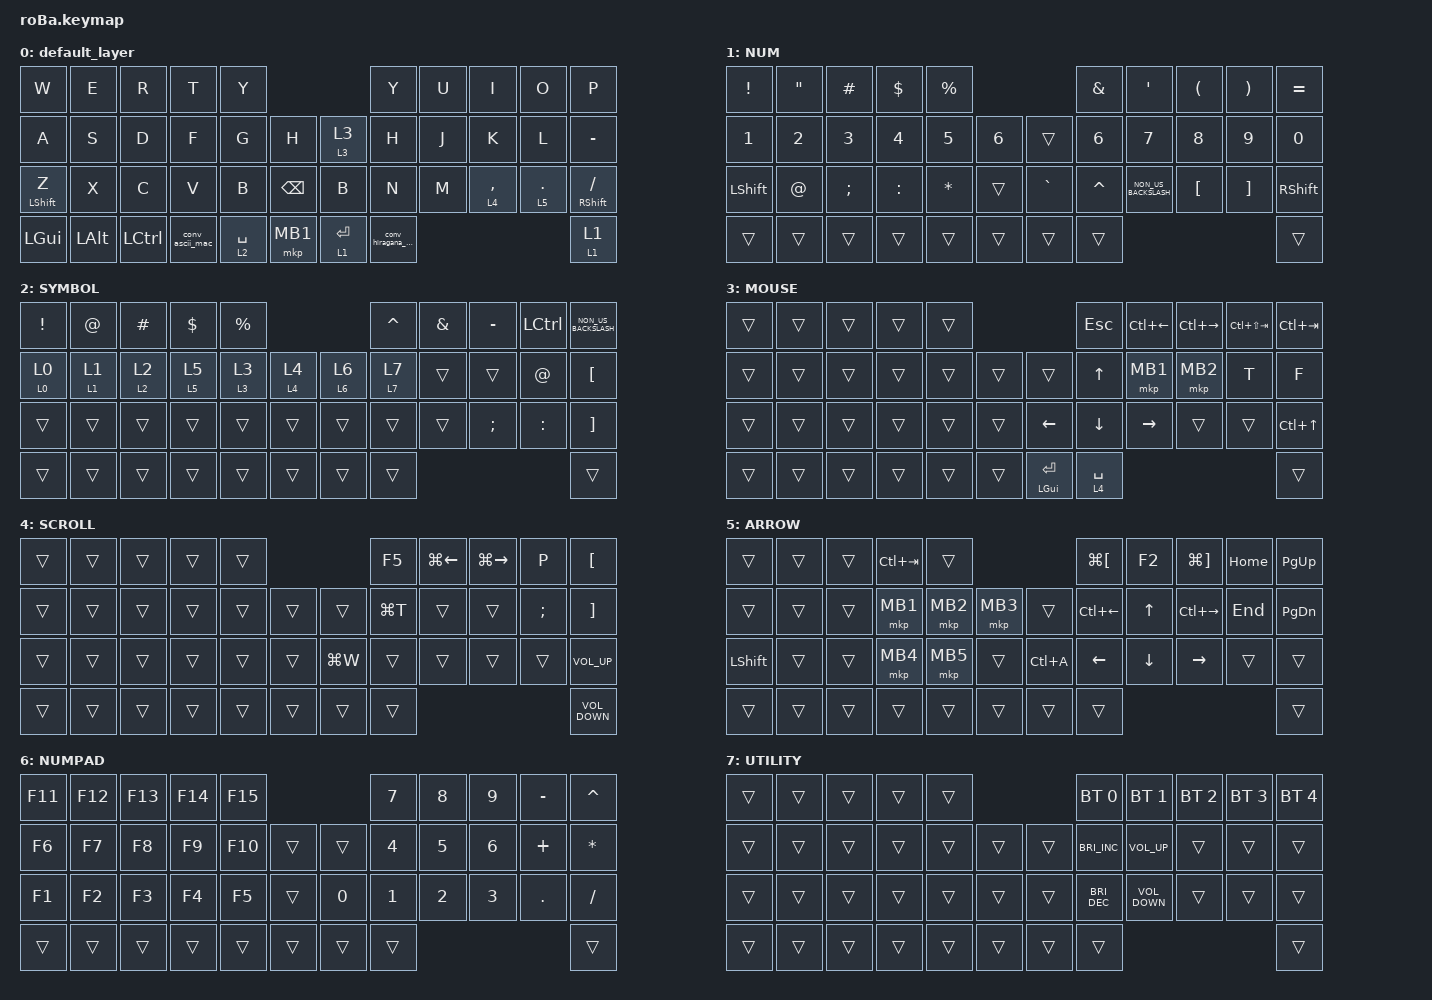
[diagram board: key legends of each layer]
#include <input/processors.dtsi>      /* ★XY→スクロール変換に必要 */
#include <dt-bindings/zmk/input_transform.h>
#include <behaviors.dtsi>
#include <dt-bindings/zmk/bt.h>
#include <dt-bindings/zmk/keys.h>
#include <dt-bindings/zmk/pointing.h>


&mt {
    flavor = "balanced";
    quick-tap-ms = <175>;   /* 誤爆低減のため 0→175ms に調整 */
};

&trackball {
    // automouse-layer = <4>; // 使わない
    // ▼ scroll-layers は使わず、下の input-listener に統一
    // scroll-layers = <4>;
};

/ {
    combos {
        compatible = "zmk,combos";

        tab {
            bindings = <&kp TAB>;
            key-positions = <11 10>;
        };

        shift_tab {
            bindings = <&kp LS(TAB)>;
            key-positions = <10 11 12>;
        };

        ComboQ {
            bindings = <&kp Q>;
            key-positions = <0 1>;
        };

        Escape {
            bindings = <&kp ESCAPE>;
            key-positions = <0 2 1>;
        };

        Backspace {
            bindings = <&kp BACKSPACE>;
            key-positions = <9 8>;
        };

        Delete {
            bindings = <&kp DELETE>;
            key-positions = <9 8 7>;
        };

        Enter {
            bindings = <&kp ENTER>;
            key-positions = <20 21>;
        };
    };

    macros {
        to_layer_0: to_layer_0 {
            compatible = "zmk,behavior-macro-one-param";
            #binding-cells = <1>;
            bindings = <&to 0 &macro_param_1to1 &kp MACRO_PLACEHOLDER>;
            label = "TO_LAYER_0";
        };
    };

    behaviors {
        lt_to_layer_0: lt_to_layer_0 {
            compatible = "zmk,behavior-hold-tap";
            label = "LAYER_TAP_TO_0";
            bindings = <&mo>, <&to_layer_0>;

            #binding-cells = <2>;
            tapping-term-ms = <200>;
        };

        /* ▼ mac用：タップで“その場をF10で半角英数に変換”→英数固定（LANG2/EISU） */

        conv_ascii_mac: conv_ascii_mac {
            compatible = "zmk,behavior-macro";
            #binding-cells = <0>;
            bindings = <&kp F10 &kp LANG2 &to 0>;
        };

        /* ▼ mac用：タップで“その場をF6でひらがな変換”→かな固定（LANG1/KANA） */

        conv_hiragana_mac: conv_hiragana_mac {
            compatible = "zmk,behavior-macro";
            #binding-cells = <0>;
            bindings = <&kp F6 &kp LANG1 &to 0>;
            label = "CONV_HIRAGANA_MAC";
        };

        /* 追加1: ただの Enter */

        enter_key: enter_key {
            compatible = "zmk,behavior-macro";
            #binding-cells = <0>;
            bindings = <&kp ENTER>;
        };

        /* 追加2: hold-tap（ホールド=ひらがな化、タップ=Enter） */

        enter_or_hira: enter_or_hira {
            compatible = "zmk,behavior-hold-tap";
            #binding-cells = <2>;
            bindings = <&conv_hiragana_mac &enter_key>; /* HOLD, TAP */
            flavor = "tap-preferred";
            tapping-term-ms = <200>;
            retro-tap;
        };

        /* Tap Dance: 単タップ=Enter / 単ホールド=conv_hiragana_mac */

        td_enter_hira: td_enter_hira {
            compatible = "zmk,behavior-tap-dance";
            #binding-cells = <0>;
            tapping-term-ms = <200>;
            bindings = <&kp ENTER>, <&conv_hiragana_mac>;
        };

        /* Tap=トグル(&tog)、Hold=ワンショット層(&sl) */

        tog_or_sl: tog_or_sl {
            compatible = "zmk,behavior-hold-tap";
            #binding-cells = <2>;
            bindings = <&sl &tog>;        // HOLD=&sl, TAP=&tog
            flavor = "tap-preferred";
            tapping-term-ms = <200>;
            retro-tap;
        };

        /* Tap=そのレイヤへ移動(&to)、Hold=ワンショット(&sl) */

        to_or_sl: to_or_sl {
            compatible = "zmk,behavior-hold-tap";
            #binding-cells = <2>;
            bindings = <&sl &to>;         // HOLD=&sl, TAP=&to
            flavor = "tap-preferred";
            tapping-term-ms = <200>;
            retro-tap;
        };

        /* Tap = 任意キー, Hold = 指定レイヤへ移動（&to） */

        lt_to: lt_to {
            compatible = "zmk,behavior-hold-tap";
            #binding-cells = <2>;         /* 第1引数=レイヤ番号, 第2引数=タップ時キー */
            bindings = <&to &kp>;         /* HOLD=&to <layer>, TAP=&kp <key> */
            flavor = "tap-preferred";
            tapping-term-ms = <200>;
            retro-tap;
        };
    };

    keymap {
        compatible = "zmk,keymap";

        /* ====== レイヤ定義（並び順＝レイヤ番号） ======
         * 0: default_layer
         * 1: NUM
         * 2: SYMBOL
         * 3: MOUSE
         * 4: SCROLL（低速の基準）
         * 5: ARROW（“倍速”の加算トグル）
         * 6: NUMPAD
         * 7: UTILITY
         */

        default_layer {
            bindings = <
&kp W         &kp E         &kp R             &kp T            &kp Y                                          &kp Y               &kp U  &kp I        &kp O         &kp P
&kp A         &kp S         &kp D             &kp F            &kp G        &kp H              &to_or_sl 3 3  &kp H               &kp J  &kp K        &kp L         &kp MINUS
&mt LSHIFT Z  &kp X         &kp C             &kp V            &kp B        &kp BACKSPACE      &kp B          &kp N               &kp M  &lt 4 COMMA  &lt 5 PERIOD  &mt RIGHT_SHIFT SLASH
&kp LGUI      &kp LEFT_ALT  &kp LEFT_CONTROL  &conv_ascii_mac  &lt 2 SPACE  &mkp MB1           &lt 1 ENTER    &conv_hiragana_mac                                    &to_or_sl 1 1
            >;
        };

        NUM {
            bindings = <
&kp EXCLAMATION  &kp DOUBLE_QUOTES  &kp HASH       &kp DOLLAR    &kp PERCENT                                &kp AMPERSAND  &kp SQT               &kp LEFT_PARENTHESIS  &kp RIGHT_PARENTHESIS  &kp EQUAL
&kp NUMBER_1     &kp NUMBER_2       &kp NUMBER_3   &kp NUMBER_4  &kp NUMBER_5  &kp NUMBER_6      &trans     &kp NUMBER_6   &kp NUMBER_7          &kp NUMBER_8          &kp NUMBER_9           &kp NUMBER_0
&kp LEFT_SHIFT   &kp AT_SIGN        &kp SEMICOLON  &kp COLON     &kp ASTERISK  &trans            &kp GRAVE  &kp CARET      &kp NON_US_BACKSLASH  &kp LEFT_BRACKET      &kp RIGHT_BRACKET      &kp RIGHT_SHIFT
&trans           &trans             &trans         &trans        &trans        &trans            &trans     &trans                                                                            &trans
            >;
        };

        SYMBOL {
            bindings = <
&kp EXCLAMATION  &kp AT_SIGN    &kp HASH       &kp DOLLAR     &kp PERCENT                                      &kp CARET      &kp AMPERSAND  &kp MINUS      &kp LCTRL    &kp NON_US_BACKSLASH
&to_or_sl 0 0    &to_or_sl 1 1  &to_or_sl 2 2  &to_or_sl 5 5  &to_or_sl 3 3  &to_or_sl 4 4      &to_or_sl 6 6  &to_or_sl 7 7  &trans         &trans         &kp AT_SIGN  &kp LEFT_BRACKET
&trans           &trans         &trans         &trans         &trans         &trans             &trans         &trans         &trans         &kp SEMICOLON  &kp COLON    &kp RIGHT_BRACKET
&trans           &trans         &trans         &trans         &trans         &trans             &trans         &trans                                                    &trans
            >;
        };

        MOUSE {
            bindings = <
&trans  &trans  &trans  &trans  &trans                                  &kp ESCAPE      &kp LC(LEFT_ARROW)  &kp LC(RIGHT_ARROW)  &kp LC(LS(TAB))  &kp LC(TAB)
&trans  &trans  &trans  &trans  &trans  &trans      &trans              &kp UP_ARROW    &mkp MB1            &mkp MB2             &kp T            &kp F
&trans  &trans  &trans  &trans  &trans  &trans      &kp LEFT_ARROW      &kp DOWN_ARROW  &kp RIGHT_ARROW     &trans               &trans           &kp LC(UP_ARROW)
&trans  &trans  &trans  &trans  &trans  &trans      &mt LEFT_GUI ENTER  &lt 4 SPACE                                                               &trans
            >;
        };

        SCROLL {
            bindings = <
&trans  &trans  &trans  &trans  &trans                         &kp F5     &kp LG(LEFT_ARROW)  &kp LG(RIGHT_ARROW)  &kp P          &kp LEFT_BRACKET
&trans  &trans  &trans  &trans  &trans  &trans      &trans     &kp LG(T)  &trans              &trans               &kp SEMICOLON  &kp RIGHT_BRACKET
&trans  &trans  &trans  &trans  &trans  &trans      &kp LG(W)  &trans     &trans              &trans               &trans         &kp C_VOL_UP
&trans  &trans  &trans  &trans  &trans  &trans      &trans     &trans                                                             &kp C_VOLUME_DOWN
            >;
        };

        ARROW {
            bindings = <
&trans          &trans  &trans  &kp LC(TAB)  &trans                             &kp LG(LEFT_BRACKET)  &kp F2          &kp LG(RIGHT_BRACKET)  &kp HOME  &kp PAGE_UP
&trans          &trans  &trans  &mkp MB1     &mkp MB2  &mkp MB3      &trans     &kp LC(LEFT_ARROW)    &kp UP_ARROW    &kp LC(RIGHT_ARROW)    &kp END   &kp PAGE_DOWN
&kp LEFT_SHIFT  &trans  &trans  &mkp MB4     &mkp MB5  &trans        &kp LC(A)  &kp LEFT_ARROW        &kp DOWN_ARROW  &kp RIGHT_ARROW        &trans    &trans
&trans          &trans  &trans  &trans       &trans    &trans        &trans     &trans                                                                 &trans
            >;
        };

        NUMPAD {
            bindings = <
&kp F11  &kp F12  &kp F13  &kp F14  &kp F15                      &kp N7        &kp N8        &kp N9        &kp MINUS   &kp CARET
&kp F6   &kp F7   &kp F8   &kp F9   &kp F10  &trans      &trans  &kp NUMBER_4  &kp N5        &kp NUMBER_6  &kp PLUS    &kp ASTERISK
&kp F1   &kp F2   &kp F3   &kp F4   &kp F5   &trans      &kp N0  &kp NUMBER_1  &kp NUMBER_2  &kp NUMBER_3  &kp PERIOD  &kp SLASH
&trans   &trans   &trans   &trans   &trans   &trans      &trans  &trans                                                &trans
            >;
        };

        UTILITY {
            bindings = <
&trans  &trans  &trans  &trans  &trans                      &bt BT_SEL 0          &bt BT_SEL 1       &bt BT_SEL 2  &bt BT_SEL 3  &bt BT_SEL 4
&trans  &trans  &trans  &trans  &trans  &trans      &trans  &kp C_BRIGHTNESS_INC  &kp C_VOLUME_UP    &trans        &trans        &trans
&trans  &trans  &trans  &trans  &trans  &trans      &trans  &kp C_BRIGHTNESS_DEC  &kp C_VOLUME_DOWN  &trans        &trans        &trans
&trans  &trans  &trans  &trans  &trans  &trans      &trans  &trans                                                               &trans
            >;
        };
    };

    /* ▼▼ 入力リスナ：XY→スクロールを同一チェーンに統一 ▼▼
     * - scroller_slow : 4 と 5 の両方で有効（= 5でも基準スクロールを通す）
     * - scroller_fast : 5 でのみ有効（= 追加でもう一回同じ処理 → 実質2倍）
     * - 方向調整は INPUT_TRANSFORM_Y_INVERT を両方に同一で付与（必要なければ外す）
     */

    trackball_listener: trackball_listener {
        compatible = "zmk,input-listener";
        device = <&trackball>;

        // 基準（レイヤ4/5）

        scroller_slow {
            layers = <4 5>;
            input-processors = <
          &zip_xy_to_scroll_mapper
          &zip_scroll_scaler 1 10                  // ← ここで“遅く”する
          &zip_scroll_scaler 1 4    /* さらに 1/4 → 合計 1/40 */
          &zip_scroll_transform (INPUT_TRANSFORM_Y_INVERT)
            >;
        };

        // 倍速の上乗せ（レイヤ5のみ）

        scroller_fast {
            layers = <5>;
            input-processors = <
          &zip_scroll_scaler 10 1                  // ← 追加倍率だけでOK
            >;
        };
    };
};
